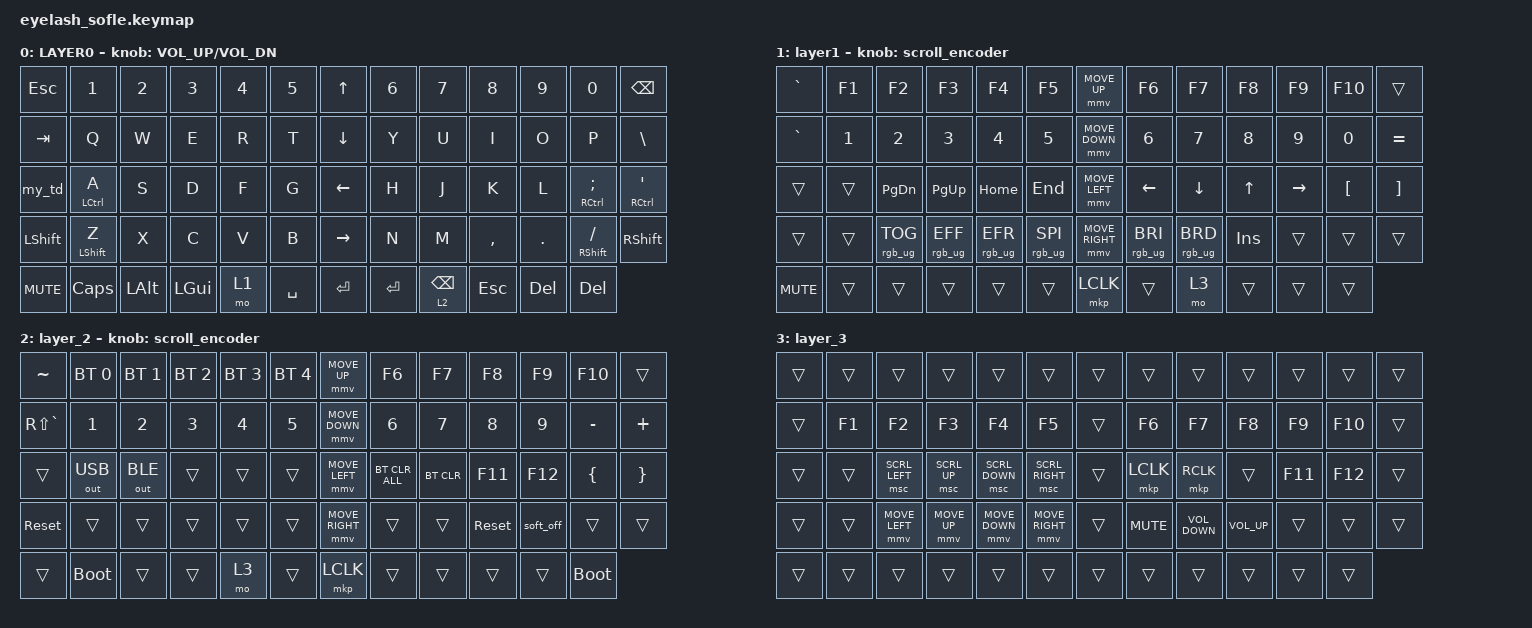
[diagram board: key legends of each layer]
#define ZMK_POINTING_DEFAULT_MOVE_VAL 1200  // 600
#define ZMK_POINTING_DEFAULT_SCRL_VAL 25   // 10

#include <input/processors.dtsi>
#include <zephyr/dt-bindings/input/input-event-codes.h>
#include <behaviors.dtsi>
#include <dt-bindings/zmk/bt.h>
#include <dt-bindings/zmk/keys.h>
#include <dt-bindings/zmk/outputs.h>
#include <dt-bindings/zmk/pointing.h>
#include <dt-bindings/zmk/rgb.h>

&mmv_input_listener { input-processors = <&zip_xy_scaler 2 1>; };

&msc_input_listener { input-processors = <&zip_scroll_scaler 2 1>; };

&msc {
    acceleration-exponent = <1>;      // 0
    time-to-max-speed-ms = <100>;       // 300
    delay-ms = <0>;                   // 0
};

&mmv {
    time-to-max-speed-ms = <500>;
    acceleration-exponent = <1>;
    trigger-period-ms = <16>;
};

/ {
    scroll_encoder: scroll_encoder {
        compatible = "zmk,behavior-sensor-rotate";
        #sensor-binding-cells = <0>;
        bindings = <&msc SCRL_DOWN>, <&msc SCRL_UP>;

        tap-ms = <100>;
    };

    behaviors {
        my_lt: layer_tap {
            compatible = "zmk,behavior-hold-tap";
            #binding-cells = <2>;
            flavor = "tap-preferred";
            quick-tap-ms = <150>;
            tapping-term-ms = <200>;
            bindings = <&mo>, <&kp>;

            display-name = "Layer-Tap";
        };

        my_mt: mod_tap {
            compatible = "zmk,behavior-hold-tap";
            #binding-cells = <2>;
            flavor = "tap-preferred";
            tapping-term-ms = <135>;
            bindings = <&kp>, <&kp>;

            display-name = "Mod-Tap";
        };

        mt_balanced: mt_balanced {
            compatible = "zmk,behavior-hold-tap";
            #binding-cells = <2>;
            flavor = "balanced";
            require-prior-idle-ms = <150>;
            tapping-term-ms = <280>;
            quick-tap-ms = <175>;
            bindings = <&kp>, <&kp>;

            display-name = "Mod-Tap balanced";
        };

        my_td: tap_dance {
            compatible = "zmk,behavior-tap-dance";
            #binding-cells = <0>;
            tapping-term-ms = <200>;
            bindings = <&kp LCTRL>, <&kp CAPSLOCK>;

            display-name = "Tap-Dance";
        };

        hml: home_row_mod_left {
            compatible = "zmk,behavior-hold-tap";
            #binding-cells = <2>;
            flavor = "balanced";
            require-prior-idle-ms = <135>;
            tapping-term-ms = <280>;
            quick-tap-ms = <175>;
            bindings = <&kp>, <&kp>;

            // List of keys on the right side of the keyboard

            hold-trigger-key-positions = <7 8 9 10 11 20 21 22 23 33 34 35 46 47 12 25 24 36 37 38 50 49 48 51 59 60 61 62 63>;
            hold-trigger-on-release;
        };

        hmr: home_row_mod_right {
            compatible = "zmk,behavior-hold-tap";
            #binding-cells = <2>;
            flavor = "tap-preferred";
            require-prior-idle-ms = <135>;
            tapping-term-ms = <280>;
            quick-tap-ms = <175>;
            bindings = <&kp>, <&kp>;

            // List of keys on the left side of the keyboard

            hold-trigger-key-positions = <0 1 2 3 4 5 13 14 15 16 17 26 27 28 29 39 40 41 18 31 30 44 43 55 54 42 53>;
            hold-trigger-on-release;
        };
    };

    combos {
        compatible = "zmk,combos";

        activate_layer_3 {
            bindings = <&mo 3>;
            key-positions = <56 60>;
        };
    };

    keymap {
        compatible = "zmk,keymap";

        /*
            LAYOUT:
            | 0  | | 1  | | 2  | | 3  | | 4  | | 5  |        | 6  |        | 7  | | 8  | | 9  | | 10 | | 11 | | 12 |
            | 13 | | 14 | | 15 | | 16 | | 17 | | 18 | | 19 | | 20 | | 21 | | 22 | | 23 | | 24 | | 25 | | 26 | | 27 |
            | 28 | | 29 | | 30 | | 31 | | 32 | | 33 |        | 34 |        | 35 | | 36 | | 37 | | 38 | | 39 | | 40 |
            | 41 | | 42 | | 43 | | 44 | | 45 | | 46 | | 47 |               | 48 | | 49 | | 50 | | 51 | | 52 | | 53 |
                          | 54 | | 55 | | 56 | | 57 | | 58 |               | 59 | | 60 | | 61 | | 62 | | 63 |
        */

        layer0 {
            bindings = <
&kp ESC     &kp N1               &kp N2        &kp N3        &kp N4  &kp N5       &kp UP_ARROW     &kp N6      &kp N7              &kp N8      &kp N9      &kp N0                   &kp BACKSPACE
&kp TAB     &kp Q                &kp W         &kp E         &kp R   &kp T        &kp DOWN_ARROW   &kp Y       &kp U               &kp I       &kp O       &kp P                    &kp BSLH
&my_td      &hml LCTRL A         &kp S         &kp D         &kp F   &kp G        &kp LEFT_ARROW   &kp H       &kp J               &kp K       &kp L       &hmr RCTRL SEMI          &my_mt RCTRL APOS
&kp LSHFT   &my_mt LEFT_SHIFT Z  &kp X         &kp C         &kp V   &kp B        &kp RIGHT_ARROW  &kp N       &kp M               &kp COMMA   &kp DOT     &my_mt RIGHT_SHIFT FSLH  &kp RIGHT_SHIFT
&kp C_MUTE  &kp CAPSLOCK         &kp LEFT_ALT  &kp LEFT_GUI  &mo 1   &kp SPACE    &kp ENTER        &kp RETURN  &my_lt 2 BACKSPACE  &kp ESCAPE  &kp DELETE  &kp DELETE
            >;

            sensor-bindings = <&inc_dec_kp C_VOLUME_UP C_VOL_DN>;
            display-name = "LAYER0";
        };

        layer_1 {
            bindings = <
&kp GRAVE   &kp F1        &kp F2           &kp F3           &kp F4           &kp F5             &mmv MOVE_UP     &kp F6           &kp F7           &kp F8        &kp F9     &kp F10           &trans
&kp GRAVE   &kp NUMBER_1  &kp NUMBER_2     &kp NUMBER_3     &kp NUMBER_4     &kp N5             &mmv MOVE_DOWN   &kp NUMBER_6     &kp N7           &kp N8        &kp N9     &kp N0            &kp EQUAL
&trans      &trans        &kp PAGE_DOWN    &kp PAGE_UP      &kp HOME         &kp END            &mmv MOVE_LEFT   &kp LEFT_ARROW   &kp DOWN_ARROW   &kp UP_ARROW  &kp RIGHT  &kp LEFT_BRACKET  &kp RIGHT_BRACKET
&trans      &trans        &rgb_ug RGB_TOG  &rgb_ug RGB_EFF  &rgb_ug RGB_EFR  &rgb_ug RGB_SPI    &mmv MOVE_RIGHT  &rgb_ug RGB_BRI  &rgb_ug RGB_BRD  &kp INSERT    &trans     &trans            &trans
&kp C_MUTE  &trans        &trans           &trans           &trans           &trans             &mkp LCLK        &trans           &mo 3            &trans        &trans     &trans
            >;

            display-name = "layer1";
            sensor-bindings = <&scroll_encoder>;
        };

        layer_2 {
            bindings = <
&kp TILDE      &bt BT_SEL 0  &bt BT_SEL 1  &bt BT_SEL 2  &bt BT_SEL 3  &bt BT_SEL 4    &mmv MOVE_UP     &kp F6          &kp F7      &kp F8      &kp F9     &kp F10      &trans
&kp RS(GRAVE)  &kp NUMBER_1  &kp NUMBER_2  &kp NUMBER_3  &kp NUMBER_4  &kp N5          &mmv MOVE_DOWN   &kp NUMBER_6    &kp N7      &kp N8      &kp N9     &kp MINUS    &kp PLUS
&trans         &out OUT_USB  &out OUT_BLE  &trans        &trans        &trans          &mmv MOVE_LEFT   &bt BT_CLR_ALL  &bt BT_CLR  &kp F11     &kp F12    &kp LBRC     &kp RBRC
&sys_reset     &trans        &trans        &trans        &trans        &trans          &mmv MOVE_RIGHT  &trans          &trans      &sys_reset  &soft_off  &trans       &trans
&trans         &bootloader   &trans        &trans        &mo 3         &trans          &mkp LCLK        &trans          &trans      &trans      &trans     &bootloader
            >;

            sensor-bindings = <&scroll_encoder>;
        };

        layer_3 {
            bindings = <
&trans  &trans  &trans          &trans        &trans          &trans             &trans  &trans      &trans             &trans           &trans   &trans   &trans
&trans  &kp F1  &kp F2          &kp F3        &kp F4          &kp F5             &trans  &kp F6      &kp F7             &kp F8           &kp F9   &kp F10  &trans
&trans  &trans  &msc SCRL_LEFT  &msc SCRL_UP  &msc SCRL_DOWN  &msc SCRL_RIGHT    &trans  &mkp LCLK   &mkp RCLK          &trans           &kp F11  &kp F12  &trans
&trans  &trans  &mmv MOVE_LEFT  &mmv MOVE_UP  &mmv MOVE_DOWN  &mmv MOVE_RIGHT    &trans  &kp C_MUTE  &kp C_VOLUME_DOWN  &kp C_VOLUME_UP  &trans   &trans   &trans
&trans  &trans  &trans          &trans        &trans          &trans             &trans  &trans      &trans             &trans           &trans   &trans
            >;
        };
    };
};
